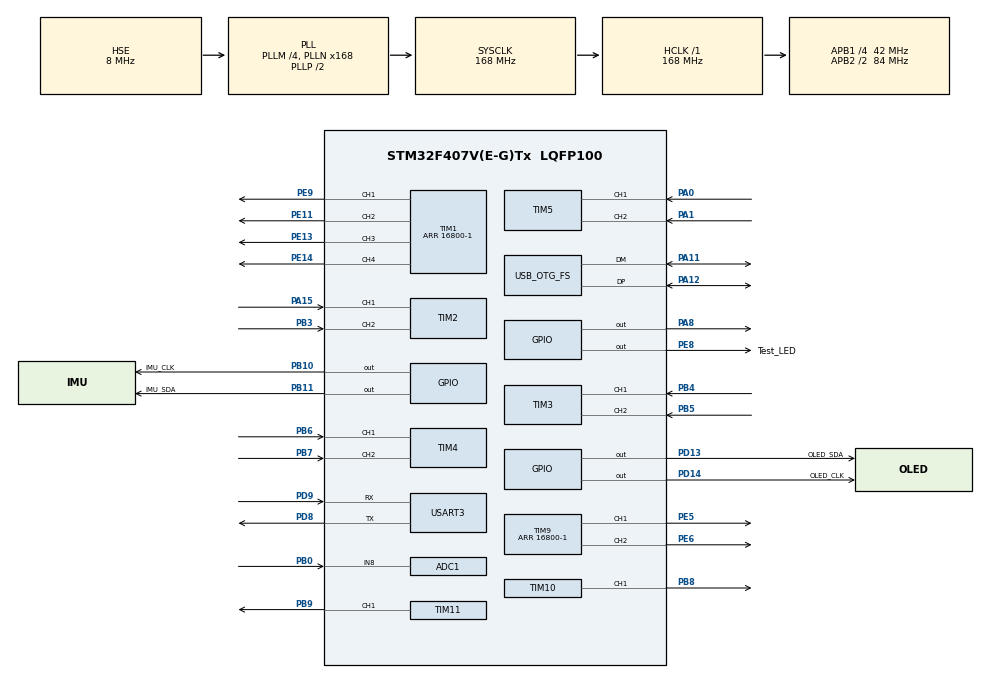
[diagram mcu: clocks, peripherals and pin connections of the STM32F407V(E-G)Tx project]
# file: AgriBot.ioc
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ADC1.Channel-0\#ChannelRegularConversion=ADC_CHANNEL_8
ADC1.NbrOfConversionFlag=1
ADC1.Rank-0\#ChannelRegularConversion=1
ADC1.SamplingTime-0\#ChannelRegularConversion=ADC_SAMPLETIME_3CYCLES
ADC1.master=1
FREERTOS.Tasks01=defaultTask,24,128,StartDefaultTask,Default,NULL,Dynamic,NULL,NULL
Mcu.Family=STM32F4
Mcu.Name=STM32F407V(E-G)Tx
Mcu.Package=LQFP100
NVIC.OTG_FS_IRQn=true\:5\:0\:false\:false\:true\:true\:true\:true\:true
NVIC.PriorityGroup=NVIC_PRIORITYGROUP_4
NVIC.TIM6_DAC_IRQn=true\:15\:0\:false\:false\:true\:false\:false\:true\:true
NVIC.TimeBase=TIM6_DAC_IRQn
NVIC.TimeBaseIP=TIM6
NVIC.USART3_IRQn=true\:5\:0\:false\:false\:true\:true\:true\:true\:true
PA0-WKUP.GPIO_PuPd=GPIO_PULLUP
PA0-WKUP.GPIO_Speed=GPIO_SPEED_FREQ_HIGH
PA0-WKUP.Signal=S_TIM5_CH1
PA1.GPIO_PuPd=GPIO_PULLUP
PA1.GPIO_Speed=GPIO_SPEED_FREQ_HIGH
PA1.Signal=S_TIM5_CH2
PA11.Mode=Host_Only
PA11.Signal=USB_OTG_FS_DM
PA12.Mode=Host_Only
PA12.Signal=USB_OTG_FS_DP
PA13.Mode=Serial_Wire
PA13.Signal=SYS_JTMS-SWDIO
PA14.Mode=Serial_Wire
PA14.Signal=SYS_JTCK-SWCLK
PA15.GPIO_PuPd=GPIO_PULLUP
PA15.GPIO_Speed=GPIO_SPEED_FREQ_HIGH
PA15.Signal=S_TIM2_CH1_ETR
PA8.Signal=GPIO_Output
PB0.Signal=ADCx_IN8
PB10.GPIO_Label=IMU_CLK
PB10.GPIO_ModeDefaultOutputPP=GPIO_MODE_OUTPUT_OD
PB10.GPIO_PuPd=GPIO_PULLUP
PB10.GPIO_Speed=GPIO_SPEED_FREQ_HIGH
PB10.Signal=GPIO_Output
PB11.GPIO_Label=IMU_SDA
PB11.GPIO_ModeDefaultOutputPP=GPIO_MODE_OUTPUT_OD
PB11.GPIO_PuPd=GPIO_PULLUP
PB11.GPIO_Speed=GPIO_SPEED_FREQ_HIGH
PB11.PinState=GPIO_PIN_SET
PB11.Signal=GPIO_Output
PB3.GPIO_PuPd=GPIO_PULLUP
PB3.GPIO_Speed=GPIO_SPEED_FREQ_HIGH
PB3.Signal=S_TIM2_CH2
PB4.GPIO_PuPd=GPIO_PULLUP
PB4.GPIO_Speed=GPIO_SPEED_FREQ_HIGH
PB4.Signal=S_TIM3_CH1
PB5.GPIO_PuPd=GPIO_PULLUP
PB5.GPIO_Speed=GPIO_SPEED_FREQ_HIGH
PB5.Signal=S_TIM3_CH2
PB6.GPIO_PuPd=GPIO_PULLUP
PB6.GPIO_Speed=GPIO_SPEED_FREQ_HIGH
PB6.Signal=S_TIM4_CH1
PB7.GPIO_PuPd=GPIO_PULLUP
PB7.GPIO_Speed=GPIO_SPEED_FREQ_HIGH
PB7.Signal=S_TIM4_CH2
PB8.Signal=S_TIM10_CH1
PB9.Signal=S_TIM11_CH1
PD13.GPIO_Label=OLED_SDA
PD13.GPIO_ModeDefaultOutputPP=GPIO_MODE_OUTPUT_OD
PD13.GPIO_PuPd=GPIO_PULLUP
PD13.GPIO_Speed=GPIO_SPEED_FREQ_HIGH
PD13.PinState=GPIO_PIN_SET
PD13.Signal=GPIO_Output
PD14.GPIO_Label=OLED_CLK
PD14.GPIO_ModeDefaultOutputPP=GPIO_MODE_OUTPUT_OD
PD14.GPIO_PuPd=GPIO_PULLUP
PD14.GPIO_Speed=GPIO_SPEED_FREQ_HIGH
PD14.PinState=GPIO_PIN_SET
PD14.Signal=GPIO_Output
PD8.Mode=Asynchronous
PD8.Signal=USART3_TX
PD9.Mode=Asynchronous
PD9.Signal=USART3_RX
PE11.Signal=S_TIM1_CH2
PE13.Signal=S_TIM1_CH3
PE14.Signal=S_TIM1_CH4
PE5.Signal=S_TIM9_CH1
PE6.Signal=S_TIM9_CH2
PE8.GPIO_Label=Test_LED
PE8.PinState=GPIO_PIN_SET
PE8.Signal=GPIO_Output
PE9.Signal=S_TIM1_CH1
PH0-OSC_IN.Mode=HSE-External-Oscillator
PH0-OSC_IN.Signal=RCC_OSC_IN
PH1-OSC_OUT.Mode=HSE-External-Oscillator
PH1-OSC_OUT.Signal=RCC_OSC_OUT
ProjectManager.HeapSize=0x200
ProjectManager.StackSize=0x400
ProjectManager.TargetToolchain=MDK-ARM V5.32
RCC.48MHZClocksFreq_Value=48000000
RCC.AHBFreq_Value=168000000
RCC.APB1CLKDivider=RCC_HCLK_DIV4
RCC.APB1Freq_Value=42000000
RCC.APB1TimFreq_Value=84000000
RCC.APB2CLKDivider=RCC_HCLK_DIV2
RCC.APB2Freq_Value=84000000
RCC.APB2TimFreq_Value=168000000
RCC.CortexFreq_Value=168000000
RCC.HCLKFreq_Value=168000000
RCC.HSE_VALUE=8000000
RCC.HSI_VALUE=16000000
RCC.LSE_VALUE=32768
RCC.PLLM=4
RCC.PLLN=168
RCC.PLLQ=7
RCC.SYSCLKFreq_VALUE=168000000
RCC.SYSCLKSource=RCC_SYSCLKSOURCE_PLLCLK
RCC.VCOOutputFreq_Value=336000000
SH.ADCx_IN8.0=ADC1_IN8,IN8
SH.S_TIM10_CH1.0=TIM10_CH1,PWM Generation1 CH1
SH.S_TIM11_CH1.0=TIM11_CH1,PWM Generation1 CH1
SH.S_TIM1_CH1.0=TIM1_CH1,PWM Generation1 CH1
SH.S_TIM1_CH2.0=TIM1_CH2,PWM Generation2 CH2
SH.S_TIM1_CH3.0=TIM1_CH3,PWM Generation3 CH3
SH.S_TIM1_CH4.0=TIM1_CH4,PWM Generation4 CH4
SH.S_TIM2_CH1_ETR.0=TIM2_CH1,Encoder_Interface
SH.S_TIM2_CH2.0=TIM2_CH2,Encoder_Interface
SH.S_TIM3_CH1.0=TIM3_CH1,Encoder_Interface
SH.S_TIM3_CH2.0=TIM3_CH2,Encoder_Interface
SH.S_TIM4_CH1.0=TIM4_CH1,Encoder_Interface
SH.S_TIM4_CH2.0=TIM4_CH2,Encoder_Interface
SH.S_TIM5_CH1.0=TIM5_CH1,Encoder_Interface
SH.S_TIM5_CH2.0=TIM5_CH2,Encoder_Interface
SH.S_TIM9_CH1.0=TIM9_CH1,PWM Generation1 CH1
SH.S_TIM9_CH2.0=TIM9_CH2,PWM Generation2 CH2
TIM1.AutoReloadPreload=TIM_AUTORELOAD_PRELOAD_ENABLE
TIM1.Channel-PWM\ Generation1\ CH1=TIM_CHANNEL_1
TIM1.Channel-PWM\ Generation2\ CH2=TIM_CHANNEL_2
TIM1.Channel-PWM\ Generation3\ CH3=TIM_CHANNEL_3
TIM1.Channel-PWM\ Generation4\ CH4=TIM_CHANNEL_4
TIM1.Period=16800-1
TIM10.AutoReloadPreload=TIM_AUTORELOAD_PRELOAD_ENABLE
TIM10.Channel=TIM_CHANNEL_1
TIM10.Period=16800-1
TIM11.AutoReloadPreload=TIM_AUTORELOAD_PRELOAD_ENABLE
TIM11.Channel=TIM_CHANNEL_1
TIM11.Period=16800-1
TIM2.AutoReloadPreload=TIM_AUTORELOAD_PRELOAD_ENABLE
TIM2.EncoderMode=TIM_ENCODERMODE_TI12
TIM3.AutoReloadPreload=TIM_AUTORELOAD_PRELOAD_ENABLE
TIM3.EncoderMode=TIM_ENCODERMODE_TI12
TIM4.AutoReloadPreload=TIM_AUTORELOAD_PRELOAD_ENABLE
TIM4.EncoderMode=TIM_ENCODERMODE_TI12
TIM5.AutoReloadPreload=TIM_AUTORELOAD_PRELOAD_ENABLE
TIM5.EncoderMode=TIM_ENCODERMODE_TI12
TIM9.AutoReloadPreload=TIM_AUTORELOAD_PRELOAD_ENABLE
TIM9.Channel-PWM\ Generation1\ CH1=TIM_CHANNEL_1
TIM9.Channel-PWM\ Generation2\ CH2=TIM_CHANNEL_2
TIM9.Period=16800-1
USART3.VirtualMode=VM_ASYNC
USB_HOST.USBH_HandleTypeDef-HID_FS=hUsbHostFS
USB_HOST.USBH_MAX_DATA_BUFFER-HID_FS=2048
USB_HOST.USBH_MAX_NUM_SUPPORTED_CLASS-HID_FS=2
USB_HOST.USBH_PROCESS_STACK_SIZE-HID_FS=1024
USB_HOST.VirtualModeFS=Hid
USB_OTG_FS.VirtualMode=Host_Only
USB_OTG_FS.phy_itface=HCD_PHY_EMBEDDED
VP_FREERTOS_VS_CMSIS_V2.Mode=CMSIS_V2
VP_SYS_VS_tim6.Mode=TIM6
VP_TIM10_VS_ClockSourceINT.Mode=Enable_Timer
VP_TIM11_VS_ClockSourceINT.Mode=Enable_Timer
VP_TIM1_VS_ClockSourceINT.Mode=Internal
VP_TIM9_VS_ClockSourceINT.Mode=Internal
VP_USB_HOST_VS_USB_HOST_HID_FS.Mode=HID_FS
board=custom

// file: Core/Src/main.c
/* USER CODE BEGIN Header */
/**
  ******************************************************************************
  * @file           : main.c
  * @brief          : Main program body
  ******************************************************************************
  * @attention
  *
  * Copyright (c) 2026 STMicroelectronics.
  * All rights reserved.
  *
  * This software is licensed under terms that can be found in the LICENSE file
  * in the root directory of this software component.
  * If no LICENSE file comes with this software, it is provided AS-IS.
  *
  ******************************************************************************
  */
/* USER CODE END Header */
#include "main.h"
#include "cmsis_os.h"
#include "adc.h"
#include "tim.h"
#include "usart.h"
#include "usb_host.h"
#include "gpio.h"

/* USER CODE BEGIN Includes */
#if WHEEL_RESPONSE_EXPERIMENT
#include "WheelResponseExperiment.h"
#include "Bluetooth.h"
#include "Motor.h"
#endif

/* USER CODE END Includes */

void SystemClock_Config(void);
void MX_FREERTOS_Init(void);

int main(void)
{

  /* MCU Configuration--------------------------------------------------------*/

  /* Reset of all peripherals, Initializes the Flash interface and the Systick. */
  HAL_Init();

  /* Configure the system clock */
  SystemClock_Config();

  /* Initialize all configured peripherals */
  MX_GPIO_Init();
  MX_USART3_UART_Init();
  MX_TIM1_Init();
  MX_TIM2_Init();
  MX_TIM3_Init();
  MX_TIM4_Init();
  MX_TIM5_Init();
  MX_TIM9_Init();
  MX_TIM10_Init();
  MX_TIM11_Init();
  MX_ADC1_Init();
  /* USER CODE BEGIN 2 */
#if WHEEL_RESPONSE_EXPERIMENT
  Set_PWM(0,0,0,0);
  Bluetooth_Bootstrap();
#endif

  /* USER CODE END 2 */

  /* Init scheduler */
  osKernelInitialize();  /* Call init function for freertos objects (in cmsis_os2.c) */
  MX_FREERTOS_Init();

  /* Start scheduler */
  osKernelStart();

  /* We should never get here as control is now taken by the scheduler */

  /* Infinite loop */
  while (1)
  {

  }
}

void SystemClock_Config(void)
{
  RCC_OscInitTypeDef RCC_OscInitStruct = {0};
  RCC_ClkInitTypeDef RCC_ClkInitStruct = {0};

  /** Configure the main internal regulator output voltage
  */
  __HAL_RCC_PWR_CLK_ENABLE();
  __HAL_PWR_VOLTAGESCALING_CONFIG(PWR_REGULATOR_VOLTAGE_SCALE1);

  /** Initializes the RCC Oscillators according to the specified parameters
  * in the RCC_OscInitTypeDef structure.
  */
  RCC_OscInitStruct.OscillatorType = RCC_OSCILLATORTYPE_HSE;
  RCC_OscInitStruct.HSEState = RCC_HSE_ON;
  RCC_OscInitStruct.PLL.PLLState = RCC_PLL_ON;
  RCC_OscInitStruct.PLL.PLLSource = RCC_PLLSOURCE_HSE;
  RCC_OscInitStruct.PLL.PLLM = 4;
  RCC_OscInitStruct.PLL.PLLN = 168;
  RCC_OscInitStruct.PLL.PLLP = RCC_PLLP_DIV2;
  RCC_OscInitStruct.PLL.PLLQ = 7;
  if (HAL_RCC_OscConfig(&RCC_OscInitStruct) != HAL_OK)
  {
    Error_Handler();
  }

  /** Initializes the CPU, AHB and APB buses clocks
  */
  RCC_ClkInitStruct.ClockType = RCC_CLOCKTYPE_HCLK|RCC_CLOCKTYPE_SYSCLK
                              |RCC_CLOCKTYPE_PCLK1|RCC_CLOCKTYPE_PCLK2;
  RCC_ClkInitStruct.SYSCLKSource = RCC_SYSCLKSOURCE_PLLCLK;
  RCC_ClkInitStruct.AHBCLKDivider = RCC_SYSCLK_DIV1;
  RCC_ClkInitStruct.APB1CLKDivider = RCC_HCLK_DIV4;
  RCC_ClkInitStruct.APB2CLKDivider = RCC_HCLK_DIV2;

  if (HAL_RCC_ClockConfig(&RCC_ClkInitStruct, FLASH_LATENCY_5) != HAL_OK)
  {
    Error_Handler();
  }
}

void HAL_TIM_PeriodElapsedCallback(TIM_HandleTypeDef *htim)
{
  if (htim->Instance == TIM6)
  {
    HAL_IncTick();
  }
}

void Error_Handler(void)
{
  /* USER CODE BEGIN Error_Handler_Debug */
#if WHEEL_RESPONSE_EXPERIMENT
  WRS_EmergencyZero();
#endif
  /* User can add his own implementation to report the HAL error return state */
  __disable_irq();
  while (1)
  {
  }
  /* USER CODE END Error_Handler_Debug */
}

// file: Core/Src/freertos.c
/* USER CODE BEGIN Header */
/**
 ******************************************************************************
 * File Name          : freertos.c
 * Description        : Code for freertos applications
 ******************************************************************************
 * @attention
 *
 * Copyright (c) 2026 STMicroelectronics.
 * All rights reserved.
 *
 * This software is licensed under terms that can be found in the LICENSE file
 * in the root directory of this software component.
 * If no LICENSE file comes with this software, it is provided AS-IS.
 *
 ******************************************************************************
 */
/* USER CODE END Header */

#include "FreeRTOS.h"
#include "task.h"
#include "main.h"
#include "cmsis_os.h"

/* USER CODE BEGIN Includes */
#include "stm32f4xx_hal.h"
#include "MyTask.h"
#include "imu_task.h"
#if WHEEL_RESPONSE_EXPERIMENT
#include "WheelResponseExperiment.h"
#endif

/* USER CODE END Includes */

/* USER CODE BEGIN Variables */
SemaphoreHandle_t g_TimeSemaphore;
QueueHandle_t g_RobotQueue;
QueueHandle_t g_IMUQueue;
QueueHandle_t g_VoltQueue;
/* USER CODE END Variables */
/* Definitions for defaultTask */
osThreadId_t defaultTaskHandle;
const osThreadAttr_t defaultTask_attributes = {
    .name = "defaultTask",
    .stack_size = 128 * 4,
    .priority = (osPriority_t)osPriorityNormal,
};

void StartDefaultTask(void *argument);

extern void MX_USB_HOST_Init(void);
void MX_FREERTOS_Init(void); /* (MISRA C 2004 rule 8.1) */

void MX_FREERTOS_Init(void)
{
#if WHEEL_RESPONSE_EXPERIMENT
  WRS_Init();
  if (xTaskCreate(WRS_UartTask, "WRS_UART", 512, NULL, 3, NULL) != pdPASS ||
      xTaskCreate((TaskFunction_t)CarControlTask, "CarControlTask", 512, NULL, 4, NULL) != pdPASS) {
    WRS_EmergencyZero(); taskDISABLE_INTERRUPTS(); for (;;) {}
  }
  return;
#else

  /* USER CODE BEGIN RTOS_SEMAPHORES */
  /* add semaphores, ... */
  g_TimeSemaphore = xSemaphoreCreateBinary();
  g_RobotQueue = xQueueCreate(1, sizeof(Robot_t));
  g_IMUQueue = xQueueCreate(1, sizeof(IMU_DATA_t));
  g_VoltQueue = xQueueCreate(1, sizeof(float));
  /* USER CODE END RTOS_SEMAPHORES */

  /* Create the thread(s) */
  /* creation of defaultTask */
  defaultTaskHandle = osThreadNew(StartDefaultTask, NULL, &defaultTask_attributes);

#endif
}

void StartDefaultTask(void *argument)
{
  /* init code for USB_HOST */
  MX_USB_HOST_Init();
  /* USER CODE BEGIN StartDefaultTask */
  delay_init(168);
  xTaskCreate(LedTask, "LedTask", 128, NULL, 3, NULL);
  xTaskCreate(ShowTask, "ShowTask", 256, NULL, 3, NULL);
  xTaskCreate(ICM20948Task, "ImuTask", 256, NULL, 3, NULL);
  xTaskCreate(DataTask, "DataTask", 256, NULL, 3, NULL);
  xTaskCreate(CarControlTask, "CarControlTask", 512, NULL, 4, NULL);

  vTaskDelete(defaultTaskHandle);
  /* Infinite loop */
  for (;;)
  {
    HAL_GPIO_WritePin(Test_LED_GPIO_Port, Test_LED_Pin, GPIO_PIN_RESET);

    osDelay(1);
  }
  /* USER CODE END StartDefaultTask */
}
